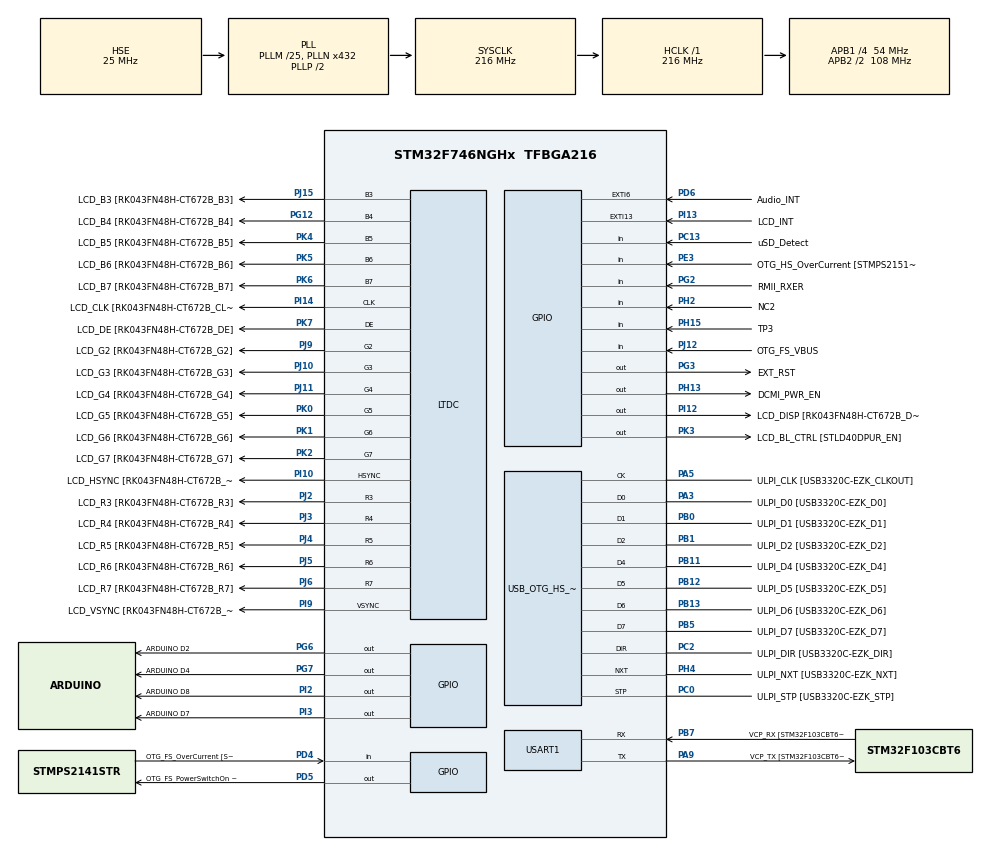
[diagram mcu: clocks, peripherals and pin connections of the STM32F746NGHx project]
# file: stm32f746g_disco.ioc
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CORTEX_M7.CPU_DCache=Enabled
CORTEX_M7.CPU_ICache=Enabled
LTDC.ActiveH=272
LTDC.ActiveW=480
LTDC.Alpha_L0=255
LTDC.BlendingFactor1_L0=LTDC_BLENDING_FACTOR1_PAxCA
LTDC.BlendingFactor2_L0=LTDC_BLENDING_FACTOR2_PAxCA
LTDC.FBStartAdress_L0=0xC0000000
LTDC.HBP=13
LTDC.HFP=32
LTDC.HSync=41
LTDC.ImageHeight_L0=272
LTDC.ImageWidth_L0=480
LTDC.Layers=0
LTDC.PixelFormat_L0=LTDC_PIXEL_FORMAT_RGB565
LTDC.VSync=10
LTDC.WindowX1_L0=480
LTDC.WindowY1_L0=272
Mcu.Family=STM32F7
Mcu.Name=STM32F746NGHx
Mcu.Package=TFBGA216
NVIC.LTDC_IRQn=true\:0\:0\:false\:false\:true\:true\:true\:true
NVIC.PriorityGroup=NVIC_PRIORITYGROUP_4
NVIC.TIM6_DAC_IRQn=true\:15\:0\:false\:false\:true\:false\:true\:true
NVIC.TimeBase=TIM6_DAC_IRQn
NVIC.TimeBaseIP=TIM6
PA0/WKUP.GPIO_Label=ARDUINO A0
PA0/WKUP.GPIO_Mode=GPIO_MODE_ANALOG
PA0/WKUP.GPIO_PuPd=GPIO_NOPULL
PA0/WKUP.Signal=ADCx_IN0
PA1.GPIO_Label=RMII_REF_CLK [LAN8742A-CZ-TR_REFCLK0]
PA1.Signal=ETH_REF_CLK
PA10.GPIO_Label=OTG_FS_ID
PA10.Signal=USB_OTG_FS_ID
PA11.GPIO_Label=OTG_FS_N
PA11.Signal=USB_OTG_FS_DM
PA12.GPIO_Label=OTG_FS_P
PA12.Signal=USB_OTG_FS_DP
PA13.GPIO_Label=SWDIO
PA13.Mode=Serial_Wire
PA13.Signal=SYS_JTMS-SWDIO
PA14.GPIO_Label=SWCLK
PA14.Mode=Serial_Wire
PA14.Signal=SYS_JTCK-SWCLK
PA15.GPIO_Label=ARDUINO PWM/D9
PA15.GPIO_ModeDefaultPP=GPIO_MODE_AF_PP
PA15.GPIO_PuPd=GPIO_NOPULL
PA15.GPIO_Speed=GPIO_SPEED_FREQ_LOW
PA15.Signal=S_TIM2_CH1_ETR
PA2.GPIO_Label=RMII_MDIO [LAN8742A-CZ-TR_MDIO]
PA2.Signal=ETH_MDIO
PA3.GPIO_Label=ULPI_D0 [USB3320C-EZK_D0]
PA3.Mode=Host_HS
PA3.Signal=USB_OTG_HS_ULPI_D0
PA4.GPIO_Label=DCMI_HSYNC
PA4.Signal=DCMI_HSYNC
PA5.GPIO_Label=ULPI_CLK [USB3320C-EZK_CLKOUT]
PA5.Mode=Host_HS
PA5.Signal=USB_OTG_HS_ULPI_CK
PA6.Signal=DCMI_PIXCLK
PA7.GPIO_Label=RMII_CRS_DV [LAN8742A-CZ-TR_CRS_DV]
PA7.Signal=ETH_CRS_DV
PA8.GPIO_Label=ARDUINO PWM/D10
PA8.GPIO_ModeDefaultPP=GPIO_MODE_AF_PP
PA8.GPIO_PuPd=GPIO_NOPULL
PA8.GPIO_Speed=GPIO_SPEED_FREQ_LOW
PA8.Signal=S_TIM1_CH1
PA9.GPIO_Label=VCP_TX [STM32F103CBT6_PA3]
PA9.GPIO_Mode=GPIO_MODE_AF_PP
PA9.GPIO_PuPd=GPIO_NOPULL
PA9.GPIO_Speed=GPIO_SPEED_FREQ_LOW
PA9.Mode=Asynchronous
PA9.Signal=USART1_TX
PB0.GPIO_Label=ULPI_D1 [USB3320C-EZK_D1]
PB0.Mode=Host_HS
PB0.Signal=USB_OTG_HS_ULPI_D1
PB1.GPIO_Label=ULPI_D2 [USB3320C-EZK_D2]
PB1.Mode=Host_HS
PB1.Signal=USB_OTG_HS_ULPI_D2
PB10.GPIO_Label=ULPI_D3 [USB3320C-EZK_D3]
PB10.Signal=USB_OTG_HS_ULPI_D3
PB11.GPIO_Label=ULPI_D4 [USB3320C-EZK_D4]
PB11.Mode=Host_HS
PB11.Signal=USB_OTG_HS_ULPI_D4
PB12.GPIO_Label=ULPI_D5 [USB3320C-EZK_D5]
PB12.Mode=Host_HS
PB12.Signal=USB_OTG_HS_ULPI_D5
PB13.GPIO_Label=ULPI_D6 [USB3320C-EZK_D6]
PB13.Mode=Host_HS
PB13.Signal=USB_OTG_HS_ULPI_D6
PB14.GPIO_Label=ARDUINO MISO/D12
PB14.GPIO_Mode=GPIO_MODE_AF_PP
PB14.GPIO_PuPd=GPIO_NOPULL
PB14.GPIO_Speed=GPIO_SPEED_FREQ_LOW
PB14.Signal=SPI2_MISO
PB15.GPIO_Label=ARDUINO MOSI/PWM/D11
PB15.GPIO_Mode=GPIO_MODE_AF_PP
PB15.GPIO_PuPd=GPIO_NOPULL
PB15.GPIO_Speed=GPIO_SPEED_FREQ_LOW
PB15.Signal=SPI2_MOSI
PB2.Signal=QUADSPI_CLK
PB3.GPIO_Label=SWO
PB3.Signal=SYS_JTDO-SWO
PB4.GPIO_Label=ARDUINO PWM/D3
PB4.GPIO_ModeDefaultPP=GPIO_MODE_AF_PP
PB4.GPIO_PuPd=GPIO_NOPULL
PB4.GPIO_Speed=GPIO_SPEED_FREQ_LOW
PB4.Signal=S_TIM3_CH1
PB5.GPIO_Label=ULPI_D7 [USB3320C-EZK_D7]
PB5.Mode=Host_HS
PB5.Signal=USB_OTG_HS_ULPI_D7
PB6.GPIO_Label=QSPI_NCS [N25Q128A13EF840E_S]
PB6.Signal=QUADSPI_BK1_NCS
PB7.GPIO_Label=VCP_RX [STM32F103CBT6_PA2]
PB7.GPIO_Mode=GPIO_MODE_AF_PP
PB7.GPIO_PuPd=GPIO_NOPULL
PB7.GPIO_Speed=GPIO_SPEED_FREQ_LOW
PB7.Mode=Asynchronous
PB7.Signal=USART1_RX
PB8.GPIO_Label=ARDUINO SCL/D15
PB8.GPIO_Mode=GPIO_MODE_AF_OD
PB8.GPIO_Pu=GPIO_PULLUP
PB8.GPIO_PuPd=GPIO_NOPULL
PB8.GPIO_Speed=GPIO_SPEED_FREQ_LOW
PB8.Signal=I2C1_SCL
PB9.GPIO_Label=ARDUINO SDA/D14
PB9.GPIO_Mode=GPIO_MODE_AF_OD
PB9.GPIO_Pu=GPIO_PULLUP
PB9.GPIO_PuPd=GPIO_NOPULL
PB9.GPIO_Speed=GPIO_SPEED_FREQ_LOW
PB9.Signal=I2C1_SDA
PC0.GPIO_Label=ULPI_STP [USB3320C-EZK_STP]
PC0.Mode=Host_HS
PC0.Signal=USB_OTG_HS_ULPI_STP
PC1.GPIO_Label=RMII_MDC [LAN8742A-CZ-TR_MDC]
PC1.Signal=ETH_MDC
PC10.GPIO_Label=SDMMC_D2
PC10.Signal=SDMMC1_D2
PC11.GPIO_Label=SDMMC_D3
PC11.Signal=SDMMC1_D3
PC12.GPIO_Label=SDMMC_CK
PC12.Signal=SDMMC1_CK
PC13.GPIO_Label=uSD_Detect
PC13.Signal=GPIO_Input
PC14/OSC32_IN.GPIO_Label=RCC_OSC32_IN
PC14/OSC32_IN.Signal=RCC_OSC32_IN
PC15/OSC32_OUT.GPIO_Label=RCC_OSC32_OUT
PC15/OSC32_OUT.Signal=RCC_OSC32_OUT
PC2.GPIO_Label=ULPI_DIR [USB3320C-EZK_DIR]
PC2.Mode=Host_HS
PC2.Signal=USB_OTG_HS_ULPI_DIR
PC3.GPIO_Label=FMC_SDCKE0 [MT48LC4M32B2B5-6A_CKE]
PC3.Signal=FMC_SDCKE0
PC4.GPIO_Label=RMII_RXD0 [LAN8742A-CZ-TR_RXD0]
PC4.Signal=ETH_RXD0
PC5.GPIO_Label=RMII_RXD1 [LAN8742A-CZ-TR_RXD1]
PC5.Signal=ETH_RXD1
PC6.GPIO_Label=ARDUINO TX/D1
PC6.Signal=USART6_TX
PC7.GPIO_Label=ARDUINO RX/D0
PC7.Signal=USART6_RX
PC8.Signal=SDMMC1_D0
PC9.Signal=SDMMC1_D1
PD0.GPIO_Label=FMC_D2 [MT48LC4M32B2B5-6A_DQ2]
PD0.Signal=FMC_D2_DA2
PD1.GPIO_Label=FMC_D3 [MT48LC4M32B2B5-6A_DQ3]
PD1.Signal=FMC_D3_DA3
PD10.GPIO_Label=FMC_D15 [MT48LC4M32B2B5-6A_DQ15]
PD10.Signal=FMC_D15_DA15
PD11.GPIO_Label=QSPI_D0 [N25Q128A13EF840E_DQ0]
PD11.Signal=QUADSPI_BK1_IO0
PD12.GPIO_Label=QSPI_D1 [N25Q128A13EF840E_DQ1]
PD12.Signal=QUADSPI_BK1_IO1
PD13.GPIO_Label=QSPI_D3 [N25Q128A13EF840E_DQ3]
PD13.Signal=QUADSPI_BK1_IO3
PD14.GPIO_Label=FMC_D0 [MT48LC4M32B2B5-6A_DQ0]
PD14.Signal=FMC_D0_DA0
PD15.GPIO_Label=FMC_D1 [MT48LC4M32B2B5-6A_DQ1]
PD15.Signal=FMC_D1_DA1
PD2.GPIO_Label=SDMMC_CMD
PD2.Signal=SDMMC1_CMD
PD3.GPIO_Label=DCMI_D5
PD3.Signal=DCMI_D5
PD4.GPIO_Label=OTG_FS_OverCurrent [STMPS2141STR_Fault]
PD4.Signal=GPIO_Input
PD5.GPIO_Label=OTG_FS_PowerSwitchOn [STMPS2141STR_EN]
PD5.PinState=GPIO_PIN_SET
PD5.Signal=GPIO_Output
PD6.GPIO_Label=Audio_INT
PD6.GPIO_ModeDefaultEXTI=GPIO_MODE_EVT_RISING
PD6.Signal=GPXTI6
PD7.GPIO_Label=SPDIF_RX0 [74LVC1G04SE_4]
PD7.Signal=SPDIFRX_IN0
PD8.GPIO_Label=FMC_D13 [MT48LC4M32B2B5-6A_DQ13]
PD8.Signal=FMC_D13_DA13
PD9.GPIO_Label=FMC_D14 [MT48LC4M32B2B5-6A_DQ14]
PD9.Signal=FMC_D14_DA14
PE0.GPIO_Label=FMC_NBL0 [MT48LC4M32B2B5-6A_DQM0]
PE0.Signal=FMC_NBL0
PE1.GPIO_Label=FMC_NBL1 [MT48LC4M32B2B5-6A_DQM1]
PE1.Signal=FMC_NBL1
PE10.GPIO_Label=FMC_D7 [MT48LC4M32B2B5-6A_DQ7]
PE10.Signal=FMC_D7_DA7
PE11.GPIO_Label=FMC_D8 [MT48LC4M32B2B5-6A_DQ8]
PE11.Signal=FMC_D8_DA8
PE12.GPIO_Label=FMC_D9 [MT48LC4M32B2B5-6A_DQ9]
PE12.Signal=FMC_D9_DA9
PE13.GPIO_Label=FMC_D10 [MT48LC4M32B2B5-6A_DQ10]
PE13.Signal=FMC_D10_DA10
PE14.GPIO_Label=FMC_D11 [MT48LC4M32B2B5-6A_DQ11]
PE14.Signal=FMC_D11_DA11
PE15.GPIO_Label=FMC_D12 [MT48LC4M32B2B5-6A_DQ12]
PE15.Signal=FMC_D12_DA12
PE2.GPIO_Label=QSPI_D2 [N25Q128A13EF840E_DQ2]
PE2.Signal=QUADSPI_BK1_IO2
PE3.GPIO_Label=OTG_HS_OverCurrent [STMPS2151STR_FAULT]
PE3.Signal=GPIO_Input
PE4.GPIO_Label=LCD_B0 [RK043FN48H-CT672B_B0]
PE4.Signal=LTDC_B0
PE5.GPIO_Label=DCMI_D6
PE5.Signal=DCMI_D6
PE6.GPIO_Label=DCMI_D7
PE6.Signal=DCMI_D7
PE7.GPIO_Label=FMC_D4 [MT48LC4M32B2B5-6A_DQ4]
PE7.Signal=FMC_D4_DA4
PE8.GPIO_Label=FMC_D5 [MT48LC4M32B2B5-6A_DQ5]
PE8.Signal=FMC_D5_DA5
PE9.GPIO_Label=FMC_D6 [MT48LC4M32B2B5-6A_DQ6]
PE9.Signal=FMC_D6_DA6
PF0.GPIO_Label=FMC_A0 [MT48LC4M32B2B5-6A_A0]
PF0.Signal=FMC_A0
PF1.GPIO_Label=FMC_A1 [MT48LC4M32B2B5-6A_A1]
PF1.Signal=FMC_A1
PF10.GPIO_Label=ARDUINO A1
PF10.GPIO_Mode=GPIO_MODE_ANALOG
PF10.GPIO_PuPd=GPIO_NOPULL
PF10.Signal=ADC3_IN8
PF11.GPIO_Label=FMC_SDNRAS [MT48LC4M32B2B5-6A_RAS]
PF11.Signal=FMC_SDNRAS
PF12.GPIO_Label=FMC_A6 [MT48LC4M32B2B5-6A_A6]
PF12.Signal=FMC_A6
PF13.GPIO_Label=FMC_A7 [MT48LC4M32B2B5-6A_A7]
PF13.Signal=FMC_A7
PF14.GPIO_Label=FMC_A8 [MT48LC4M32B2B5-6A_A8]
PF14.Signal=FMC_A8
PF15.GPIO_Label=FMC_A9 [MT48LC4M32B2B5-6A_A9]
PF15.Signal=FMC_A9
PF2.GPIO_Label=FMC_A2 [MT48LC4M32B2B5-6A_A2]
PF2.Signal=FMC_A2
PF3.GPIO_Label=FMC_A3 [MT48LC4M32B2B5-6A_A3]
PF3.Signal=FMC_A3
PF4.GPIO_Label=FMC_A4 [MT48LC4M32B2B5-6A_A4]
PF4.Signal=FMC_A4
PF5.GPIO_Label=FMC_A5 [MT48LC4M32B2B5-6A_A5]
PF5.Signal=FMC_A5
PF6.GPIO_Label=ARDUINO A5
PF6.GPIO_Mode=GPIO_MODE_ANALOG
PF6.GPIO_PuPd=GPIO_NOPULL
PF6.Signal=ADC3_IN4
PF7.GPIO_Label=ARDUINO A4
PF7.GPIO_Mode=GPIO_MODE_ANALOG
PF7.GPIO_PuPd=GPIO_NOPULL
PF7.Signal=ADC3_IN5
PF8.GPIO_Label=ARDUINO A3
PF8.GPIO_Mode=GPIO_MODE_ANALOG
PF8.GPIO_PuPd=GPIO_NOPULL
PF8.Signal=ADC3_IN6
PF9.GPIO_Label=ARDUINO A2
PF9.GPIO_Mode=GPIO_MODE_ANALOG
PF9.GPIO_PuPd=GPIO_NOPULL
PF9.Signal=ADC3_IN7
PG0.GPIO_Label=FMC_A10 [MT48LC4M32B2B5-6A_A10]
PG0.Signal=FMC_A10
PG1.GPIO_Label=FMC_A11 [MT48LC4M32B2B5-6A_A11]
PG1.Signal=FMC_A11
PG10.GPIO_Label=SAI2_SDB [WM8994ECS/R_ADCDAT1]
PG10.Signal=SAI2_SD_B
PG11.GPIO_Label=RMII_TX_EN [LAN8742A-CZ-TR_TXEN]
PG11.Signal=ETH_TX_EN
PG12.GPIO_Label=LCD_B4 [RK043FN48H-CT672B_B4]
PG12.Mode=RGB565
PG12.Signal=LTDC_B4
PG13.GPIO_Label=RMII_TXD0 [LAN8742A-CZ-TR_TXD0]
PG13.Signal=ETH_TXD0
PG14.GPIO_Label=RMII_TXD1 [LAN8742A-CZ-TR_TXD1]
PG14.Signal=ETH_TXD1
PG15.GPIO_Label=FMC_SDNCAS [MT48LC4M32B2B5-6A_CAS]
PG15.Signal=FMC_SDNCAS
PG2.GPIO_Label=RMII_RXER
PG2.Signal=GPIO_Input
PG3.GPIO_Label=EXT_RST
PG3.Signal=GPIO_Output
PG4.GPIO_Label=FMC_BA0 [MT48LC4M32B2B5-6A_BA0]
PG4.Signal=FMC_A14_BA0
PG5.GPIO_Label=FMC_BA1 [MT48LC4M32B2B5-6A_BA1]
PG5.Signal=FMC_A15_BA1
PG6.GPIO_Label=ARDUINO D2
PG6.Signal=GPIO_Output
PG7.GPIO_Label=ARDUINO D4
PG7.Signal=GPIO_Output
PG8.GPIO_Label=FMC_SDCLK [MT48LC4M32B2B5-6A_CLK]
PG8.Signal=FMC_SDCLK
PG9.GPIO_Label=DCMI_VSYNC
PG9.Signal=DCMI_VSYNC
PH0/OSC_IN.GPIO_Label=OSC_25M [NZ2520SB-25.00M_OUT]
PH0/OSC_IN.Mode=HSE-External-Oscillator
PH0/OSC_IN.Signal=RCC_OSC_IN
PH1/OSC_OUT.Mode=HSE-External-Oscillator
PH1/OSC_OUT.Signal=RCC_OSC_OUT
PH10.GPIO_Label=DCMI_D1
PH10.Signal=DCMI_D1
PH11.GPIO_Label=DCMI_D2
PH11.Signal=DCMI_D2
PH12.GPIO_Label=DCMI_D3
PH12.Signal=DCMI_D3
PH13.GPIO_Label=DCMI_PWR_EN
PH13.Signal=GPIO_Output
PH14.GPIO_Label=DCMI_D4
PH14.Signal=DCMI_D4
PH15.GPIO_Label=TP3
PH15.Signal=GPIO_Input
PH2.GPIO_Label=NC2
PH2.Signal=GPIO_Input
PH3.GPIO_Label=FMC_SDNE0 [MT48LC4M32B2B5-6A_CS]
PH3.Signal=FMC_SDNE0
PH4.GPIO_Label=ULPI_NXT [USB3320C-EZK_NXT]
PH4.Mode=Host_HS
PH4.Signal=USB_OTG_HS_ULPI_NXT
PH5.GPIO_Label=FMC_SDNME [MT48LC4M32B2B5-6A_WE]
PH5.Signal=FMC_SDNWE
PH6.GPIO_Label=ARDUINO PWM/D6
PH6.Signal=S_TIM12_CH1
PH7.GPIO_Label=LCD_SCL [RK043FN48H-CT672B_SCL]
PH7.GPIO_Pu=GPIO_PULLUP
PH7.Signal=I2C3_SCL
PH8.GPIO_Label=LCD_SDA [RK043FN48H-CT672B_SDA]
PH8.GPIO_Pu=GPIO_PULLUP
PH8.Signal=I2C3_SDA
PH9.GPIO_Label=DCMI_D0
PH9.Signal=DCMI_D0
PI0.GPIO_Label=ARDUINO PWM/CS/D5
PI0.GPIO_ModeDefaultPP=GPIO_MODE_AF_PP
PI0.GPIO_PuPd=GPIO_NOPULL
PI0.GPIO_Speed=GPIO_SPEED_FREQ_LOW
PI0.Signal=S_TIM5_CH4
PI1.GPIO_Label=ARDUINO SCK/D13
PI1.GPIO_Mode=GPIO_MODE_AF_PP
PI1.GPIO_PuPd=GPIO_NOPULL
PI1.GPIO_Speed=GPIO_SPEED_FREQ_LOW
PI1.Signal=SPI2_SCK
PI10.GPIO_Label=LCD_HSYNC [RK043FN48H-CT672B_HSYNC]
PI10.Mode=RGB565
PI10.Signal=LTDC_HSYNC
PI12.GPIO_Label=LCD_DISP [RK043FN48H-CT672B_DISP] 
PI12.PinState=GPIO_PIN_SET
PI12.Signal=GPIO_Output
PI13.GPIO_Label=LCD_INT
PI13.GPIO_ModeDefaultEXTI=GPIO_MODE_EVT_RISING
PI13.Signal=GPXTI13
PI14.GPIO_Label=LCD_CLK [RK043FN48H-CT672B_CLK]
PI14.Mode=RGB565
PI14.Signal=LTDC_CLK
PI15.GPIO_Label=LCD_R0 [RK043FN48H-CT672B_R0]
PI15.Signal=LTDC_R0
PI2.GPIO_Label=ARDUINO D8
PI2.Signal=GPIO_Output
PI3.GPIO_Label=ARDUINO D7
PI3.Signal=GPIO_Output
PI4.GPIO_Label=SAI2_MCLKA [WM8994ECS/R_MCLK1]
PI4.Signal=SAI2_MCLK_A
PI5.GPIO_Label=SAI2_SCKA [WM8994ECS/R_BCLK1]
PI5.Signal=SAI2_SCK_A
PI6.GPIO_Label=SAI2_SDA [WM8994ECS/R_DACDAT1]
PI6.Signal=SAI2_SD_A
PI7.GPIO_Label=SAI2_FSA [WM8994ECS/R_LRCLK1]
PI7.Signal=SAI2_FS_A
PI8.GPIO_Label=NC1 [TP2]
PI8.Signal=RTC_TS
PI9.GPIO_Label=LCD_VSYNC [RK043FN48H-CT672B_VSYNC]
PI9.Mode=RGB565
PI9.Signal=LTDC_VSYNC
PJ0.GPIO_Label=LCD_R1 [RK043FN48H-CT672B_R1]
PJ0.Signal=LTDC_R1
PJ1.GPIO_Label=LCD_R2 [RK043FN48H-CT672B_R2]
PJ1.Signal=LTDC_R2
PJ10.GPIO_Label=LCD_G3 [RK043FN48H-CT672B_G3]
PJ10.Mode=RGB565
PJ10.Signal=LTDC_G3
PJ11.GPIO_Label=LCD_G4 [RK043FN48H-CT672B_G4]
PJ11.Mode=RGB565
PJ11.Signal=LTDC_G4
PJ12.GPIO_Label=OTG_FS_VBUS
PJ12.Signal=GPIO_Input
PJ13.GPIO_Label=LCD_B1 [RK043FN48H-CT672B_B1]
PJ13.Signal=LTDC_B1
PJ14.GPIO_Label=LCD_B2 [RK043FN48H-CT672B_B2]
PJ14.Signal=LTDC_B2
PJ15.GPIO_Label=LCD_B3 [RK043FN48H-CT672B_B3]
PJ15.Mode=RGB565
PJ15.Signal=LTDC_B3
PJ2.GPIO_Label=LCD_R3 [RK043FN48H-CT672B_R3]
PJ2.Mode=RGB565
PJ2.Signal=LTDC_R3
PJ3.GPIO_Label=LCD_R4 [RK043FN48H-CT672B_R4]
PJ3.Mode=RGB565
PJ3.Signal=LTDC_R4
PJ4.GPIO_Label=LCD_R5 [RK043FN48H-CT672B_R5]
PJ4.Mode=RGB565
PJ4.Signal=LTDC_R5
PJ5.GPIO_Label=LCD_R6 [RK043FN48H-CT672B_R6]
PJ5.Mode=RGB565
PJ5.Signal=LTDC_R6
PJ6.GPIO_Label=LCD_R7 [RK043FN48H-CT672B_R7]
PJ6.Mode=RGB565
PJ6.Signal=LTDC_R7
PJ7.GPIO_Label=LCD_G0 [RK043FN48H-CT672B_G0]
PJ7.Signal=LTDC_G0
PJ8.GPIO_Label=LCD_G1 [RK043FN48H-CT672B_G1]
PJ8.Signal=LTDC_G1
PJ9.GPIO_Label=LCD_G2 [RK043FN48H-CT672B_G2]
PJ9.Mode=RGB565
PJ9.Signal=LTDC_G2
PK0.GPIO_Label=LCD_G5 [RK043FN48H-CT672B_G5]
PK0.Mode=RGB565
PK0.Signal=LTDC_G5
PK1.GPIO_Label=LCD_G6 [RK043FN48H-CT672B_G6]
PK1.Mode=RGB565
PK1.Signal=LTDC_G6
PK2.GPIO_Label=LCD_G7 [RK043FN48H-CT672B_G7]
PK2.Mode=RGB565
PK2.Signal=LTDC_G7
PK3.GPIO_Label=LCD_BL_CTRL [STLD40DPUR_EN]
PK3.GPIO_Speed=GPIO_SPEED_FREQ_LOW
PK3.PinState=GPIO_PIN_SET
PK3.Signal=GPIO_Output
PK4.GPIO_Label=LCD_B5 [RK043FN48H-CT672B_B5]
PK4.Mode=RGB565
PK4.Signal=LTDC_B5
PK5.GPIO_Label=LCD_B6 [RK043FN48H-CT672B_B6]
PK5.Mode=RGB565
PK5.Signal=LTDC_B6
PK6.GPIO_Label=LCD_B7 [RK043FN48H-CT672B_B7]
PK6.Mode=RGB565
PK6.Signal=LTDC_B7
PK7.GPIO_Label=LCD_DE [RK043FN48H-CT672B_DE]
PK7.Mode=RGB565
PK7.Signal=LTDC_DE
ProjectManager.HeapSize=0x800
ProjectManager.StackSize=0x800
ProjectManager.TargetToolchain=Makefile
RCC.AHBFreq_Value=216000000
RCC.APB1CLKDivider=RCC_HCLK_DIV4
RCC.APB1Freq_Value=54000000
RCC.APB1TimFreq_Value=108000000
RCC.APB2CLKDivider=RCC_HCLK_DIV2
RCC.APB2Freq_Value=108000000
RCC.APB2TimFreq_Value=216000000
RCC.CortexFreq_Value=216000000
RCC.HCLKFreq_Value=216000000
RCC.HSE_VALUE=25000000
RCC.HSI_VALUE=16000000
RCC.LSE_VALUE=32768
RCC.PLL48CLockSelection=RCC_CLK48SOURCE_PLLSAIP
RCC.PLLI2SN=100
RCC.PLLM=25
RCC.PLLN=432
RCC.PLLP=2
RCC.PLLQ=9
RCC.PLLSAIN=384
RCC.PLLSAIP=RCC_PLLSAIP_DIV8
RCC.PLLSAIR=5
RCC.PLLSAIRDiv=RCC_PLLSAIDIVR_8
RCC.PLLSourceVirtual=RCC_PLLSOURCE_HSE
RCC.SDMMCClockSelection=RCC_SDMMC1CLKSOURCE_CLK48
RCC.SYSCLKFreq_VALUE=216000000
RCC.SYSCLKSource=RCC_SYSCLKSOURCE_PLLCLK
RCC.USBFreq_Value=48000000
RCC.VCOOutputFreq_Value=432000000
SH.ADCx_IN0.0=ADC3_IN0
SH.FMC_A0.0=FMC_A0
SH.FMC_A1.0=FMC_A1
SH.FMC_A10.0=FMC_A10
SH.FMC_A11.0=FMC_A11
SH.FMC_A14_BA0.0=FMC_BA0
SH.FMC_A15_BA1.0=FMC_BA1
SH.FMC_A2.0=FMC_A2
SH.FMC_A3.0=FMC_A3
SH.FMC_A4.0=FMC_A4
SH.FMC_A5.0=FMC_A5
SH.FMC_A6.0=FMC_A6
SH.FMC_A7.0=FMC_A7
SH.FMC_A8.0=FMC_A8
SH.FMC_A9.0=FMC_A9
SH.FMC_D0_DA0.0=FMC_D0
SH.FMC_D10_DA10.0=FMC_D10
SH.FMC_D11_DA11.0=FMC_D11
SH.FMC_D12_DA12.0=FMC_D12
SH.FMC_D13_DA13.0=FMC_D13
SH.FMC_D14_DA14.0=FMC_D14
SH.FMC_D15_DA15.0=FMC_D15
SH.FMC_D1_DA1.0=FMC_D1
SH.FMC_D2_DA2.0=FMC_D2
SH.FMC_D3_DA3.0=FMC_D3
SH.FMC_D4_DA4.0=FMC_D4
SH.FMC_D5_DA5.0=FMC_D5
SH.FMC_D6_DA6.0=FMC_D6
SH.FMC_D7_DA7.0=FMC_D7
SH.FMC_D8_DA8.0=FMC_D8
SH.FMC_D9_DA9.0=FMC_D9
SH.FMC_NBL0.0=FMC_NBL0
SH.FMC_NBL1.0=FMC_NBL1
SH.FMC_SDCLK.0=FMC_SDCLK
SH.FMC_SDNCAS.0=FMC_SDNCAS
SH.FMC_SDNRAS.0=FMC_SDNRAS
SH.FMC_SDNWE.0=FMC_SDNWE
SH.S_TIM12_CH1.0=TIM12_CH1
SH.S_TIM1_CH1.0=TIM1_CH1
SH.S_TIM2_CH1_ETR.0=TIM2_CH1
SH.S_TIM3_CH1.0=TIM3_CH1
SH.S_TIM5_CH4.0=TIM5_CH4
STMicroelectronics.X-CUBE-AI.7.3.0.ActivationBufferSizeList=48220
STMicroelectronics.X-CUBE-AI.7.3.0.ActivationBuffers=pool0
STMicroelectronics.X-CUBE-AI.7.3.0.ActivationNames=pool0
STMicroelectronics.X-CUBE-AI.7.3.0.ActivationSizes=AI_NETWORK_DATA_ACTIVATION_1_SIZE
STMicroelectronics.X-CUBE-AI.7.3.0.HeapSize=0x800
STMicroelectronics.X-CUBE-AI.7.3.0.InternalRamActivationBufferMaxSize=AI_NETWORK_DATA_ACTIVATIONS_SIZE
STMicroelectronics.X-CUBE-AI.7.3.0.LatestDirectoryUsed-b68eb04da21e36f6326fcdd481a952f7fb5be87e160da858f2f1523b2dcf2b7e=C\:\\Users\\weideng1\\Desktop
STMicroelectronics.X-CUBE-AI.7.3.0.MaximumNumberOfInputLayer=1
STMicroelectronics.X-CUBE-AI.7.3.0.MaximumNumberOfOutputLayer=1
STMicroelectronics.X-CUBE-AI.7.3.0.MaximumSizeOfInputLayer=1
STMicroelectronics.X-CUBE-AI.7.3.0.MaximumSizeOfOutputLayer=1
STMicroelectronics.X-CUBE-AI.7.3.0.ModelActualCompression-b68eb04da21e36f6326fcdd481a952f7fb5be87e160da858f2f1523b2dcf2b7e=0.0
STMicroelectronics.X-CUBE-AI.7.3.0.ModelCompression-b68eb04da21e36f6326fcdd481a952f7fb5be87e160da858f2f1523b2dcf2b7e=None
STMicroelectronics.X-CUBE-AI.7.3.0.ModelFlashOccupation-b68eb04da21e36f6326fcdd481a952f7fb5be87e160da858f2f1523b2dcf2b7e=76344
STMicroelectronics.X-CUBE-AI.7.3.0.ModelHashList=b68eb04da21e36f6326fcdd481a952f7fb5be87e160da858f2f1523b2dcf2b7e
STMicroelectronics.X-CUBE-AI.7.3.0.ModelKind-b68eb04da21e36f6326fcdd481a952f7fb5be87e160da858f2f1523b2dcf2b7e=TFLITE
STMicroelectronics.X-CUBE-AI.7.3.0.ModelMacc-b68eb04da21e36f6326fcdd481a952f7fb5be87e160da858f2f1523b2dcf2b7e=1381952
STMicroelectronics.X-CUBE-AI.7.3.0.ModelName-b68eb04da21e36f6326fcdd481a952f7fb5be87e160da858f2f1523b2dcf2b7e=network
STMicroelectronics.X-CUBE-AI.7.3.0.ModelNameList=network
STMicroelectronics.X-CUBE-AI.7.3.0.ModelRamOccupation-b68eb04da21e36f6326fcdd481a952f7fb5be87e160da858f2f1523b2dcf2b7e=48220
STMicroelectronics.X-CUBE-AI.7.3.0.ModelStructureFile-b68eb04da21e36f6326fcdd481a952f7fb5be87e160da858f2f1523b2dcf2b7e=C\:\\Users\\weideng1\\Desktop\\yoloface_int8.tflite
STMicroelectronics.X-CUBE-AI.7.3.0.ModelType-b68eb04da21e36f6326fcdd481a952f7fb5be87e160da858f2f1523b2dcf2b7e=STM32Cube.AI runtime
STMicroelectronics.X-CUBE-AI.7.3.0.ReadyForCodeGeneration=true
STMicroelectronics.X-CUBE-AI.7.3.0.StackSize=0x800
STMicroelectronics.X-CUBE-AI.7.3.0.WorkingBufferStartAddrList=0xFFFFFFFF
STMicroelectronics.X-CUBE-AI.7.3.0.XAaCUBEAaAICcArtificialOoIntelligenceJjCore=true
STMicroelectronics.X-CUBE-AI.7.3.0.copyWeightToRam=false
STMicroelectronics.X-CUBE-AI.7.3.0.customLayerConfigEnabled=false
STMicroelectronics.X-CUBE-AI.7.3.0.useInputAllocation=true
STMicroelectronics.X-CUBE-AI.7.3.0.useOutputAllocation=true
USART1.VirtualMode-Asynchronous=VM_ASYNC
VP_CRC_VS_CRC.Mode=CRC_Activate
VP_STMicroelectronics.X-CUBE-AI_VS_ArtificialOoIntelligenceJjXAaCUBEAaAI_7.3.0.Mode=ArtificialOoIntelligenceJjXAaCUBEAaAI
VP_SYS_VS_tim6.Mode=TIM6
board=STM32F746G-DISCO

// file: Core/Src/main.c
/* USER CODE BEGIN Header */
/**
  ******************************************************************************
  * @file           : main.c
  * @brief          : Main program body
  ******************************************************************************
  * @attention
  *
  * Copyright (c) 2022 STMicroelectronics.
  * All rights reserved.
  *
  * This software is licensed under terms that can be found in the LICENSE file
  * in the root directory of this software component.
  * If no LICENSE file comes with this software, it is provided AS-IS.
  *
  ******************************************************************************
  */
/* USER CODE END Header */
#include "main.h"
#include "crc.h"
#include "ltdc.h"
#include "usart.h"
#include "gpio.h"
#include "modular.h"

/* USER CODE BEGIN Includes */
#include <string.h>
#include <math.h>
/* USER CODE END Includes */

/* USER CODE BEGIN PD */
#define LOG(format, ...) usart_printf(&huart1, "LOG:" format "\r\n", ##__VA_ARGS__);
/* USER CODE END PD */

/* USER CODE BEGIN PV */
uint8_t img_data[sizeof(struct usart_data)];
struct usart_data *pimg;
uint8_t anchors[3][2] = {{9, 14}, {12, 17}, {22, 21}};
AI_ALIGNED(32)
static ai_i8 in_data[AI_NETWORK_IN_1_SIZE];
static ai_i8 out_data[AI_NETWORK_OUT_1_SIZE];
/* USER CODE END PV */

void SystemClock_Config(void);
/* USER CODE BEGIN PFP */
int get_image() {

	memset(img_data, 0, sizeof(uint32_t));
	usart_read(&huart1, (uint8_t *)img_data, sizeof(uint32_t), USART_READ_TIMEOUT);

	if (pimg->st == USART_READ_START) {

		memset(img_data + sizeof(uint32_t), 0, IMAGE_SIZE + sizeof(uint32_t));
		usart_read(&huart1, (uint8_t *)img_data + sizeof(uint32_t), IMAGE_SIZE + sizeof(uint32_t), USART_READ_TIMEOUT);

		if (pimg->crc == USART_READ_CRC) {

			return 0;

		} else {

			LOG("The crc value is incorrect and the transmission data is abnormal this is not a complete data.");
			return -1;

		}

	}

	return -1;
}

void handle_data() {
	uint16_t *pdata = NULL;
	int ret = 0;
	int x1, y1, x2, y2;
	int grid_x, grid_y;
	float x, y, w ,h;

	pdata = (uint16_t *)pimg->data;

	for (int i = 0; i < IMAGE_HEIGHT - 1; ++i) {

		for (int j = 0; j < IMAGE_WIDTH - 1; ++j) {
			uint16_t color = pdata[j + (i * IMAGE_WIDTH)];

			in_data[(j + (i * IMAGE_WIDTH)) * AI_IM_C] = (int8_t)((color & IMAGE_COLOR_R) >> 9) - 128;
			in_data[((j + (i * IMAGE_WIDTH)) * AI_IM_C) + 1] = (int8_t)((color & IMAGE_COLOR_G) >> 3) - 128;
			in_data[((j + (i * IMAGE_WIDTH)) * AI_IM_C) + 2] = (int8_t)((color& IMAGE_COLOR_B) << 3) - 128;
		}
	}

	ret = ai_run(in_data, out_data);
	if (ret != 0) {

		LOG("Failed to run ai model: 0x%x\n", ret);
		return;
	}

	for (int i = 0; i < AI_OUTPUT_DIME; ++i) {

		for (int j = 0; j < AI_OUTPUT_LAYER; ++j) {

			int8_t conf = out_data[i * AI_OUTPUT_CAL + j * AI_OUTPUT_CAL_SIZE + AI_OUTPUT_CAL_CON];

			/* 70% */
			if(conf > AI_PER) {

				grid_x = i % 7;
				grid_y = (i - grid_x)/7;
				x = ((float)out_data[ i * AI_OUTPUT_CAL + j * AI_OUTPUT_CAL_SIZE] + AI_SCALE_INDEX) * AI_SCALE_OFFSET;
				y = ((float)out_data[ i * AI_OUTPUT_CAL + j * AI_OUTPUT_CAL_SIZE + 1] + AI_SCALE_INDEX) * AI_SCALE_OFFSET;
			  	w = ((float)out_data[ i * AI_OUTPUT_CAL + j * AI_OUTPUT_CAL_SIZE + 2] + AI_SCALE_INDEX) * AI_SCALE_OFFSET;
		  		h = ((float)out_data[ i * AI_OUTPUT_CAL + j * AI_OUTPUT_CAL_SIZE + 3] + AI_SCALE_INDEX) * AI_SCALE_OFFSET;

				x = (algo_sigmoid(x) + grid_x) * AI_SAMPLIN;
				y = (algo_sigmoid(y) + grid_y) * AI_SAMPLIN;
				w = expf(w) * anchors[j][0];
				h = expf(h) * anchors[j][1];
				y1 = (y - h / 2);
				y2 = (y + h / 2);
				x1 = (x - w / 2);
				x2 = (x + w / 2);

				if(x1 < 0) x1 = 0;
				if(y1 < 0) y1 = 0;
				if(x2 > 55) x2 = 55;
				if(y2 > 55) y2 = 55;

				//x2 = x2 - (x2 / 4);
				//y2 = y2 - (y2 / 4);
				LOG("%d,%d,%d,%d", x1, y1, x2 - (x2 / 4), y2 - (y2 / 4));
				draw_rect(pimg->data, x1, y1, x2, y2, IMAGE_WIDTH, IMAGE_HEIGHT, 2, 0x00f8, 4);
			}
		}
	}

}
/* USER CODE END PFP */

int main(void)
{

  /* Enable I-Cache---------------------------------------------------------*/
  SCB_EnableICache();

  /* Enable D-Cache---------------------------------------------------------*/
  SCB_EnableDCache();

  /* MCU Configuration--------------------------------------------------------*/

  /* Reset of all peripherals, Initializes the Flash interface and the Systick. */
  HAL_Init();

  /* Configure the system clock */
  SystemClock_Config();

  /* Initialize all configured peripherals */
  MX_GPIO_Init();
  MX_CRC_Init();
  MX_LTDC_Init();
  MX_USART1_UART_Init();
  /* USER CODE BEGIN 2 */
  if (ai_init() != 0) {

	  LOG("Failed to initialize ai model");
	  return -1;
  }
  pimg = (struct usart_data *)img_data;
  /* USER CODE END 2 */

  /* Infinite loop */
  while (1)
  {
  	if (get_image() == 0) {

		handle_data();
	}
  }
}

void SystemClock_Config(void)
{
  RCC_OscInitTypeDef RCC_OscInitStruct = {0};
  RCC_ClkInitTypeDef RCC_ClkInitStruct = {0};

  /** Configure the main internal regulator output voltage
  */
  __HAL_RCC_PWR_CLK_ENABLE();
  __HAL_PWR_VOLTAGESCALING_CONFIG(PWR_REGULATOR_VOLTAGE_SCALE1);

  /** Initializes the RCC Oscillators according to the specified parameters
  * in the RCC_OscInitTypeDef structure.
  */
  RCC_OscInitStruct.OscillatorType = RCC_OSCILLATORTYPE_HSE;
  RCC_OscInitStruct.HSEState = RCC_HSE_ON;
  RCC_OscInitStruct.PLL.PLLState = RCC_PLL_ON;
  RCC_OscInitStruct.PLL.PLLSource = RCC_PLLSOURCE_HSE;
  RCC_OscInitStruct.PLL.PLLM = 25;
  RCC_OscInitStruct.PLL.PLLN = 432;
  RCC_OscInitStruct.PLL.PLLP = 2;
  RCC_OscInitStruct.PLL.PLLQ = 9;
  if (HAL_RCC_OscConfig(&RCC_OscInitStruct) != HAL_OK)
  {
    Error_Handler();
  }

  /** Activate the Over-Drive mode
  */
  if (HAL_PWREx_EnableOverDrive() != HAL_OK)
  {
    Error_Handler();
  }

  /** Initializes the CPU, AHB and APB buses clocks
  */
  RCC_ClkInitStruct.ClockType = RCC_CLOCKTYPE_HCLK|RCC_CLOCKTYPE_SYSCLK
                              |RCC_CLOCKTYPE_PCLK1|RCC_CLOCKTYPE_PCLK2;
  RCC_ClkInitStruct.SYSCLKSource = RCC_SYSCLKSOURCE_PLLCLK;
  RCC_ClkInitStruct.AHBCLKDivider = RCC_SYSCLK_DIV1;
  RCC_ClkInitStruct.APB1CLKDivider = RCC_HCLK_DIV4;
  RCC_ClkInitStruct.APB2CLKDivider = RCC_HCLK_DIV2;

  if (HAL_RCC_ClockConfig(&RCC_ClkInitStruct, FLASH_LATENCY_7) != HAL_OK)
  {
    Error_Handler();
  }
}

void HAL_TIM_PeriodElapsedCallback(TIM_HandleTypeDef *htim)
{
  if (htim->Instance == TIM6) {
    HAL_IncTick();
  }
}

void Error_Handler(void)
{
  __disable_irq();
  while (1)
  {
  }
}
